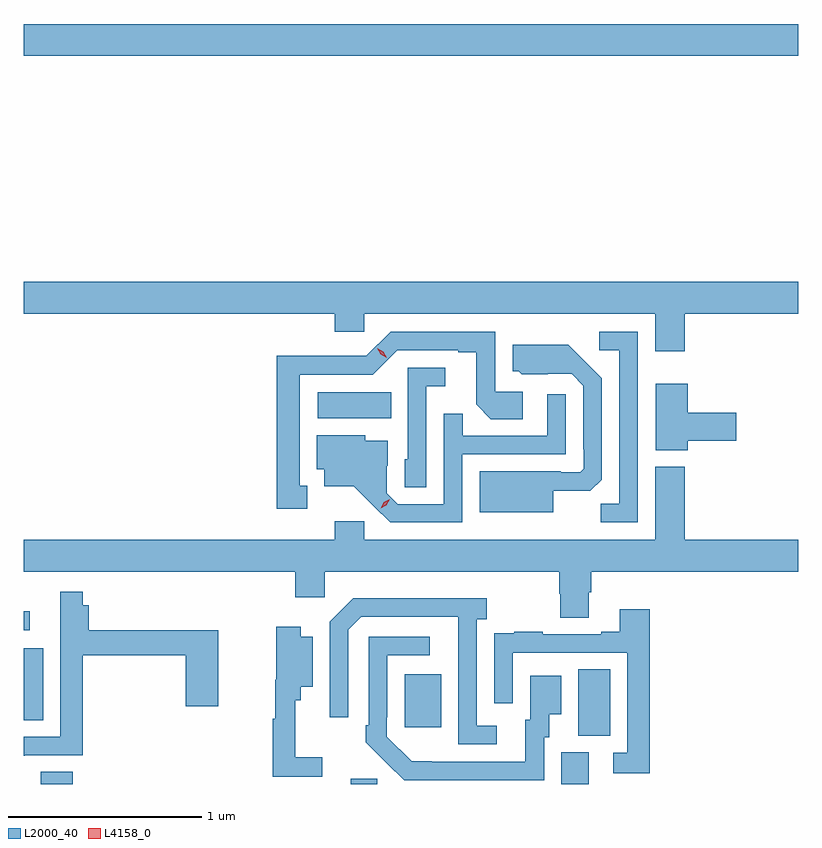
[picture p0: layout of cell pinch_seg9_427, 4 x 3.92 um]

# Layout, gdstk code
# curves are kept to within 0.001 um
import gdstk
lib = gdstk.Library(unit=1e-6, precision=1e-09)
def R(c, l, rs):  # rectangles x0, y0, x1, y1
    for r in rs: c.add(gdstk.rectangle(r[:2], r[2:], *l))
def P(c, l, *ps):  # polygons
    for p in ps: c.add(gdstk.Polygon(p, *l))
L2000_40 = (2000, 40)
L4158_0 = (4158, 0)

pinch_seg9_427 = lib.new_cell('pinch_seg9_427')
R(pinch_seg9_427, L2000_40, [(237.623,1221.964,237.788,1222.028), (239.222,1221.964,239.361,1221.99), (240.311,1221.964,240.451,1222.128), (240.398,1222.213,240.562,1222.556), (239.501,1222.257,239.689,1222.531), (237.534,1222.294,237.634,1222.665), (237.534,1222.758,237.565,1222.855), (239.052,1223.852,239.432,1223.986), (237.534,1225.724,241.534,1225.888)])
P(pinch_seg9_427, L2000_40, [(240.947,1224.392),(241.534,1224.392),(241.534,1224.556),(237.534,1224.556),(237.534,1224.392),(239.141,1224.392),(239.141,1224.299),(239.292,1224.299),(239.292,1224.392),(240.794,1224.392),(240.794,1224.198),(240.947,1224.198)],
  [(238.999,1223.505),(238.96,1223.505),(238.96,1224.078),(239.337,1224.078),(239.463,1224.204),(239.777,1224.204),(239.777,1224.192),(239.871,1224.192),(239.871,1223.924),(239.947,1223.848),(240.112,1223.848),(240.112,1223.988),(239.97,1223.988),(239.97,1224.3),(239.43,1224.3),(239.304,1224.174),(239.082,1224.174),(239.082,1224.176),(238.842,1224.176),(238.842,1223.385),(238.999,1223.385)],
  [(240.705,1224.3),(240.507,1224.3),(240.507,1224.204),(240.609,1224.204),(240.609,1223.411),(240.514,1223.411),(240.514,1223.316),(240.705,1223.316)],
  [(240.268,1223.477),(240.46,1223.477),(240.519,1223.536),(240.519,1224.058),(240.347,1224.232),(240.059,1224.232),(240.059,1224.096),(240.09,1224.096),(240.106,1224.08),(240.363,1224.081),(240.423,1224.021),(240.423,1223.692),(240.426,1223.692),(240.426,1223.592),(240.408,1223.574),(240.308,1223.574),(240.308,1223.578),(239.888,1223.578),(239.888,1223.366),(240.268,1223.366)],
  [(239.613,1224.017),(239.71,1224.017),(239.71,1224.114),(239.517,1224.114),(239.517,1223.64),(239.502,1223.64),(239.502,1223.497),(239.613,1223.497)],
  [(240.964,1223.735),(241.213,1223.735),(241.213,1223.882),(240.964,1223.882),(240.964,1224.031),(240.797,1224.031),(240.797,1223.687),(240.964,1223.687)],
  [(239.799,1223.667),(240.333,1223.667),(240.333,1223.977),(240.237,1223.977),(240.237,1223.763),(239.801,1223.763),(239.801,1223.876),(239.703,1223.876),(239.703,1223.409),(239.466,1223.409),(239.409,1223.466),(239.409,1223.608),(239.413,1223.608),(239.413,1223.737),(239.298,1223.737),(239.298,1223.764),(239.048,1223.764),(239.048,1223.588),(239.087,1223.588),(239.087,1223.501),(239.239,1223.501),(239.426,1223.316),(239.799,1223.316)],
  [(239.292,1223.32),(239.141,1223.32),(239.141,1223.224),(237.534,1223.224),(237.534,1223.06),(238.937,1223.06),(238.937,1222.929),(239.088,1222.929),(239.088,1223.06),(240.299,1223.06),(240.299,1222.947),(240.304,1222.947),(240.304,1222.822),(240.451,1222.822),(240.451,1222.954),(240.464,1222.954),(240.464,1223.06),(241.534,1223.06),(241.534,1223.224),(240.947,1223.224),(240.947,1223.602),(240.794,1223.602),(240.794,1223.224),(239.292,1223.224)],
  [(237.539,1222.113),(237.839,1222.113),(237.839,1222.63),(238.37,1222.63),(238.37,1222.365),(238.54,1222.365),(238.54,1222.759),(237.869,1222.759),(237.869,1222.888),(237.839,1222.888),(237.839,1222.957),(237.723,1222.957),(237.723,1222.209),(237.534,1222.209),(237.534,1222.111),(237.539,1222.111)],
  [(239.977,1222.266),(239.874,1222.266),(239.874,1222.814),(239.926,1222.814),(239.926,1222.924),(239.236,1222.924),(239.115,1222.803),(239.115,1222.308),(239.211,1222.308),(239.211,1222.761),(239.277,1222.827),(239.777,1222.827),(239.778,1222.17),(239.977,1222.17)],
  [(240.767,1222.867),(240.611,1222.867),(240.611,1222.75),(240.515,1222.75),(240.515,1222.737),(240.215,1222.737),(240.215,1222.75),(240.067,1222.75),(240.067,1222.743),(239.965,1222.743),(239.965,1222.634),(239.964,1222.634),(239.964,1222.38),(240.06,1222.38),(240.06,1222.641),(240.651,1222.641),(240.651,1222.125),(240.579,1222.125),(240.579,1222.02),(240.767,1222.02)],
  [(239.077,1222.103),(238.937,1222.103),(238.937,1222.397),(238.966,1222.397),(238.966,1222.466),(239.026,1222.466),(239.026,1222.723),(238.966,1222.723),(238.966,1222.777),(238.838,1222.777),(238.838,1222.501),(238.834,1222.501),(238.834,1222.301),(238.819,1222.301),(238.819,1222.002),(239.077,1222.002)],
  [(240.222,1222.206),(240.247,1222.206),(240.247,1222.325),(240.31,1222.325),(240.31,1222.522),(240.149,1222.522),(240.149,1222.296),(240.125,1222.296),(240.125,1222.08),(239.538,1222.081),(239.409,1222.209),(239.409,1222.309),(239.412,1222.309),(239.412,1222.629),(239.632,1222.629),(239.632,1222.725),(239.316,1222.725),(239.316,1222.267),(239.301,1222.267),(239.301,1222.179),(239.498,1221.984),(240.222,1221.984)])
P(pinch_seg9_427, L4158_0, [(239.377,1223.388),(239.377,1223.389),(239.394,1223.419),(239.424,1223.435),(239.424,1223.435),(239.424,1223.434),(239.407,1223.404),(239.377,1223.388)],
  [(239.409,1224.164),(239.377,1224.183),(239.36,1224.215),(239.36,1224.215),(239.36,1224.215),(239.392,1224.196),(239.409,1224.164),(239.409,1224.164)])

lib.write_gds('pinch_seg9_427.gds')
